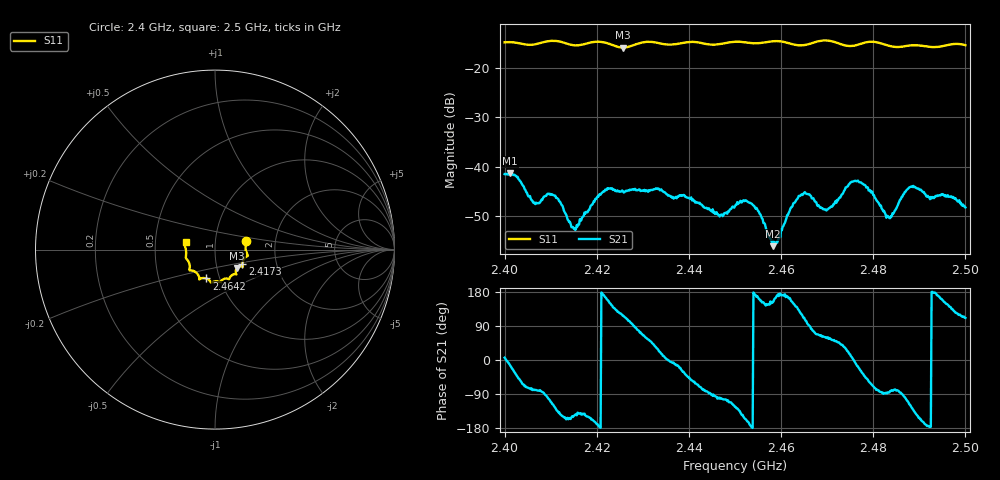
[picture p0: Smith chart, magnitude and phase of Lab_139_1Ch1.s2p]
# Hz S RI R 50
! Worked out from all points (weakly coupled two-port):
!   601 points, 2.4 GHz to 2.5 GHz, reference 50 ohm
!   highest |S21| = -41.31 dB at 2.4012 GHz (marker M1); lowest = -56.0 dB at 2.4582 GHz (marker M2)
!   lowest |S11| = -15.9 dB at 2.4257 GHz (marker M3), VSWR 1.38, Z = 62.4 - j13.1 ohm
!   |S11| at or under -10 dB: start of sweep to end of sweep
!   S12 and S22 are empty: the file has one direction only
!   S11 on the Smith chart (normalised r, x): 2.4 GHz: 1.41, +0.14; 2.4173 GHz: 1.34, -0.23; 2.4642 GHz: 0.86, -0.29; 2.5 GHz: 0.72, +0.06
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2.4e9  0.1732 0.0496  0.00839 0.000907  0 0  0 0
2.401167e9  0.1754 0.0453  0.00836 -0.00201  0 0  0 0
2.406667e9  0.1721 -0.00683  0.0008 -0.00412  0 0  0 0
2.411167e9  0.183 -0.0344  -0.00311 -0.00372  0 0  0 0
2.415e9  0.1589 -0.0557  -0.00201 -0.00127  0 0  0 0
2.416667e9  0.153 -0.0747  -0.00235 -0.0017  0 0  0 0
2.417333e9  0.1524 -0.082  -0.0027 -0.00214  0 0  0 0
2.421833e9  0.1521 -0.0948  -0.0057 0.00145  0 0  0 0
2.425667e9  0.1226 -0.1021  -0.00253 0.00508  0 0  0 0
2.433333e9  0.113 -0.1368  0.00536 0.00276  0 0  0 0
2.446833e9  0.0415 -0.1684  -0.000681 -0.00318  0 0  0 0
2.45e9  0.0297 -0.1807  -0.00223 -0.00332  0 0  0 0
2.453833e9  0.0117 -0.1765  -0.00413 -5.12e-05  0 0  0 0
2.458167e9  -0.0194 -0.1838  -0.00139 0.000751  0 0  0 0
2.459333e9  -0.0224 -0.1839  -0.00181 0.000218  0 0  0 0
2.464167e9  -0.0483 -0.1609  -0.0029 0.00418  0 0  0 0
2.466667e9  -0.0761 -0.1598  0.000691 0.00474  0 0  0 0
2.47e9  -0.0875 -0.1664  0.00198 0.0031  0 0  0 0
2.4765e9  -0.1221 -0.1178  0.00692 -0.00195  0 0  0 0
2.483333e9  -0.1407 -0.0895  0.000248 -0.0031  0 0  0 0
2.488333e9  -0.1608 -0.0492  -0.00368 -0.00515  0 0  0 0
2.5e9  -0.1635 0.0423  -0.00139 0.00362  0 0  0 0
